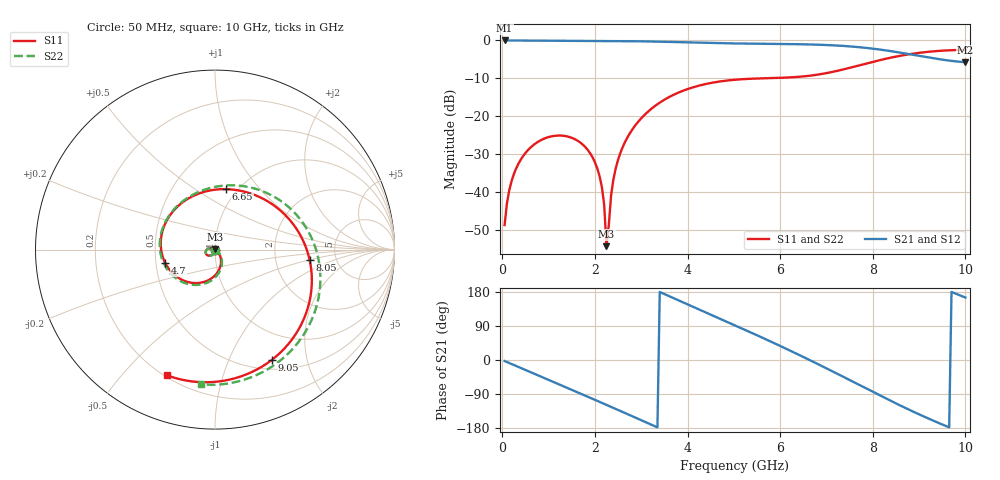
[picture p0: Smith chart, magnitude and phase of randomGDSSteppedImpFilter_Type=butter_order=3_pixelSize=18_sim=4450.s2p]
! freq	dB(S11)	phase(S11)	dB(S12)	phase(S12)
!  dB(S21)	phase(S21)	dB(S22)	phase(S22)
!S-par simulation data
#  GHz  S  DB  R 50
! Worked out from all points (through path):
!   200 points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, 50 MHz to 10 GHz, reference 50 ohm
!   highest |S21| = -0.01 dB at 50 MHz (marker M1); lowest = -5.8 dB at 10 GHz (marker M2)
!   group delay of S21, straight-line fit = 156 ps
!   lowest |S11| = -54.4 dB at 2.25 GHz (marker M3), VSWR 1.00, Z = 49.9 + j0.163 ohm
!   |S11| at or under -10 dB: start of sweep to 5.68 GHz
!   |S22| runs from -51.7 to -2.4 dB; largest |S21 - S12| = 0
!   S11 on the Smith chart (normalised r, x): 50 MHz: 1.00, -0.01; 4.7 GHz: 0.56, -0.09; 6.65 GHz: 0.89, +0.68; 8.05 GHz: 3.17, -0.49; 9.05 GHz: 0.62, -1.45; 10 GHz: 0.21, -0.67
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0.05  -48.82 -87.5  -0.01 -2.7  -0.01 -2.7  -48.82 -87.5
0.25  -35.34 -102.5  -0.02 -13.2  -0.02 -13.2  -35.34 -102.4
0.6  -28.43 -122.3  -0.05 -31.5  -0.05 -31.5  -28.44 -122.0
1.2  -25.15 -154.6  -0.09 -63.0  -0.09 -63.0  -25.16 -154.2
1.75  -27.68 175.7  -0.11 -91.9  -0.11 -91.9  -27.71 175.9
2.1  -35.86 155.3  -0.13 -110.4  -0.13 -110.4  -35.92 152.7
2.2  -43.42 146.2  -0.13 -115.7  -0.13 -115.7  -43.35 136.7
2.25  -54.40 120.7  -0.13 -118.4  -0.13 -118.4  -51.68 95.6
2.4  -36.69 -35.4  -0.15 -126.4  -0.15 -126.4  -36.46 -27.7
2.55  -29.74 -45.1  -0.16 -134.5  -0.16 -134.5  -29.65 -40.1
3.4  -16.44 -92.7  -0.33 179.5  -0.33 179.5  -16.42 -88.2
4  -12.87 -125.8  -0.52 147.0  -0.52 147.0  -12.85 -120.2
4.7  -10.85 -164.6  -0.73 109.2  -0.73 109.2  -10.83 -157.0
5.05  -10.37 175.6  -0.80 90.2  -0.80 90.2  -10.36 -175.3
5.75  -9.98 134.7  -0.90 51.4  -0.90 51.4  -9.97 147.6
6.65  -9.31 79.5  -1.07 -0.9  -1.07 -0.9  -9.34 97.3
6.7  -9.23 76.4  -1.08 -3.9  -1.08 -3.9  -9.26 94.4
7.45  -7.41 30.1  -1.52 -49.8  -1.52 -49.8  -7.44 48.8
8.05  -5.52 -6.1  -2.25 -87.1  -2.25 -87.1  -5.53 11.2
8.35  -4.65 -23.7  -2.76 -105.5  -2.76 -105.5  -4.66 -7.3
9.05  -3.20 -62.8  -4.19 -146.2  -4.19 -146.2  -3.18 -47.9
10  -2.50 -110.9  -5.76 164.8  -5.76 164.8  -2.44 -96.1
